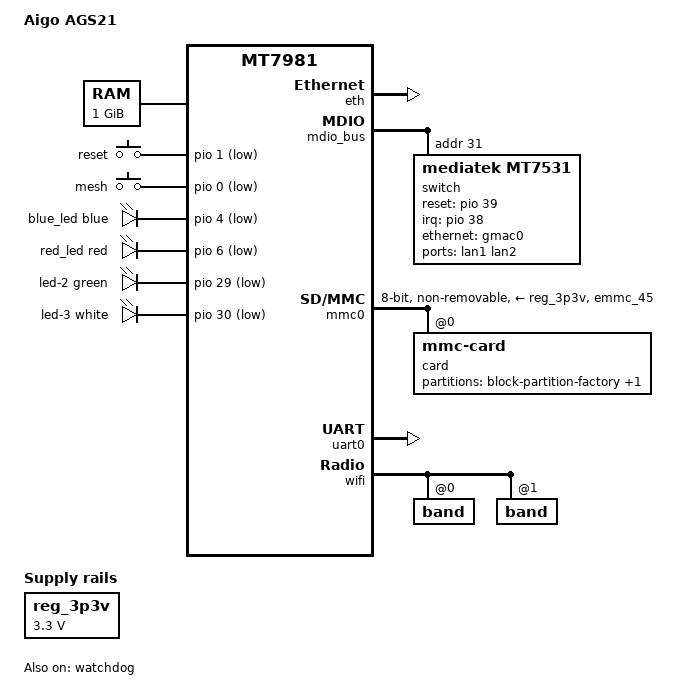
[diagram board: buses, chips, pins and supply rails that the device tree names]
// SPDX-License-Identifier: GPL-2.0-or-later OR MIT

/dts-v1/;
#include <dt-bindings/gpio/gpio.h>
#include <dt-bindings/input/input.h>
#include <dt-bindings/leds/common.h>

#include "mt7981b.dtsi"

/ {
	model = "Aigo AGS21";
	compatible = "aigo,ags21", "mediatek,mt7981";

	aliases {
		led-boot = &red_led;
		led-failsafe = &red_led;
		led-running = &blue_led;
		led-upgrade = &blue_led;
		serial0 = &uart0;
		label-mac-device = &gmac1;
	};

	chosen: chosen {
		rootdisk = <&emmc_rootdisk>;
		bootargs-override = "root=/dev/fit0 rootwait";
		stdout-path = "serial0:115200n8";
	};

	memory@40000000 {
		reg = <0 0x40000000 0 0x40000000>;
		device_type = "memory";
	};

	reg_3p3v: regulator-3p3v {
		compatible = "regulator-fixed";
		regulator-name = "fixed-3.3V";
		regulator-min-microvolt = <3300000>;
		regulator-max-microvolt = <3300000>;
		regulator-boot-on;
		regulator-always-on;
	};

	gpio-keys {
		compatible = "gpio-keys";

		button-reset {
			label = "reset";
			linux,code = <KEY_RESTART>;
			gpios = <&pio 1 GPIO_ACTIVE_LOW>;
		};

		button-mesh {
			label = "mesh";
			linux,code = <BTN_9>;
			linux,input-type = <EV_SW>;
			gpios = <&pio 0 GPIO_ACTIVE_LOW>;
		};
	};

	gpio-leds {
		compatible = "gpio-leds";

		blue_led: led-0 {
			function = LED_FUNCTION_STATUS;
			color = <LED_COLOR_ID_BLUE>;
			gpios = <&pio 4 GPIO_ACTIVE_LOW>;
		};

		red_led: led-1 {
			function = LED_FUNCTION_STATUS;
			color = <LED_COLOR_ID_RED>;
			gpios = <&pio 6 GPIO_ACTIVE_LOW>;
		};

		led-2 {
			function = LED_FUNCTION_WAN;
			color = <LED_COLOR_ID_GREEN>;
			gpios = <&pio 29 GPIO_ACTIVE_LOW>;
		};

		led-3 {
			function = LED_FUNCTION_WLAN;
			color = <LED_COLOR_ID_WHITE>;
			gpios = <&pio 30 GPIO_ACTIVE_LOW>;
		};
	};
};

&eth {
	status = "okay";

	gmac0: mac@0 {
		compatible = "mediatek,eth-mac";
		reg = <0>;
		phy-mode = "2500base-x";

		nvmem-cells = <&macaddr_factory_2a 0>;
		nvmem-cell-names = "mac-address";

		fixed-link {
			speed = <2500>;
			full-duplex;
			pause;
		};
	};

	gmac1: mac@1 {
		compatible = "mediatek,eth-mac";
		reg = <1>;
		phy-mode = "gmii";
		phy-handle = <&int_gbe_phy>;

		nvmem-cells = <&macaddr_factory_24 0>;
		nvmem-cell-names = "mac-address";
	};
};

&mdio_bus {
	switch: switch@1f {
		compatible = "mediatek,mt7531";
		reg = <31>;
		reset-gpios = <&pio 39 GPIO_ACTIVE_HIGH>;
		interrupt-controller;
		#interrupt-cells = <1>;
		interrupt-parent = <&pio>;
		interrupts = <38 IRQ_TYPE_LEVEL_HIGH>;
	};
};

&switch {
	ports {
		#address-cells = <1>;
		#size-cells = <0>;

		port@1 {
			reg = <1>;
			label = "lan1";
		};

		port@2 {
			reg = <2>;
			label = "lan2";
		};

		port@6 {
			reg = <6>;
			ethernet = <&gmac0>;
			phy-mode = "2500base-x";

			fixed-link {
				speed = <2500>;
				full-duplex;
				pause;
			};
		};
	};
};

&mmc0 {
	#address-cells = <1>;
	#size-cells = <0>;
	bus-width = <8>;
	max-frequency = <26000000>;
	no-sd;
	no-sdio;
	non-removable;
	pinctrl-names = "default", "state_uhs";
	pinctrl-0 = <&mmc0_pins_default>;
	pinctrl-1 = <&mmc0_pins_uhs>;
	vmmc-supply = <&reg_3p3v>;
	status = "okay";

	card@0 {
		compatible = "mmc-card";
		reg = <0>;

		block {
			compatible = "block-device";

			partitions {
				block-partition-factory {
					partname = "factory";

					nvmem-layout {
						compatible = "fixed-layout";
						#address-cells = <1>;
						#size-cells = <1>;

						eeprom_factory_0: eeprom@0 {
							reg = <0x0 0x1000>;
						};

						macaddr_factory_4: macaddr@4 {
							compatible = "mac-base";
							reg = <0x4 0x6>;
							#nvmem-cell-cells = <1>;
						};

						macaddr_factory_24: macaddr@24 {
							compatible = "mac-base";
							reg = <0x24 0x6>;
							#nvmem-cell-cells = <1>;
						};

						macaddr_factory_2a: macaddr@2a {
							compatible = "mac-base";
							reg = <0x2a 0x6>;
							#nvmem-cell-cells = <1>;
						};

						macaddr_factory_30: macaddr@30 {
							compatible = "mac-base";
							reg = <0x30 0x6>;
							#nvmem-cell-cells = <1>;
						};
					};
				};

				emmc_rootdisk: block-partition-production {
					partname = "production";
				};
			};
		};
	};
};

&pio {
	mmc0_pins_default: mmc0-pins-default {
		mux {
			function = "flash";
			groups = "emmc_45";
		};
	};

	mmc0_pins_uhs: mmc0-pins-uhs {
		mux {
			function = "flash";
			groups = "emmc_45";
		};
	};
};

&uart0 {
	status = "okay";
};

&watchdog {
	status = "okay";
};

&wifi {
	status = "okay";
	nvmem-cells = <&eeprom_factory_0>;
	nvmem-cell-names = "eeprom";

	band@0 {
		reg = <0>;
		nvmem-cells = <&macaddr_factory_4 0>;
		nvmem-cell-names = "mac-address";
	};

	band@1 {
		reg = <1>;
		nvmem-cells = <&macaddr_factory_30 0>;
		nvmem-cell-names = "mac-address";
	};
};
